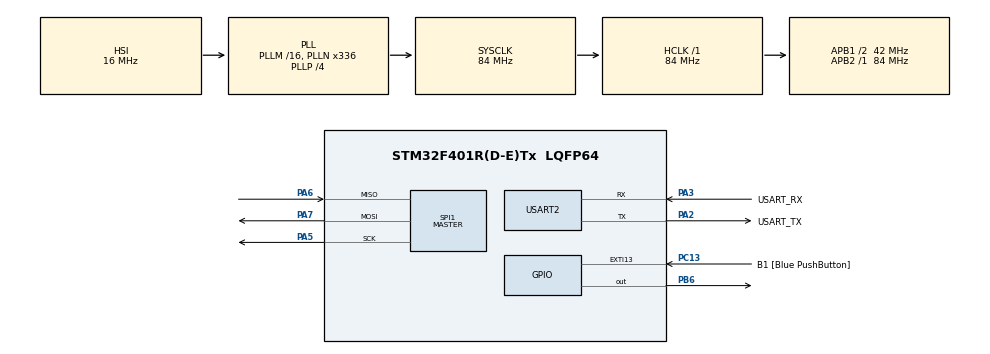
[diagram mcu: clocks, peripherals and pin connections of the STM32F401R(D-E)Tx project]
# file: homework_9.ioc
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Dma.Request0=SPI1_TX
Dma.SPI1_TX.0.Direction=DMA_MEMORY_TO_PERIPH
Dma.SPI1_TX.0.FIFOMode=DMA_FIFOMODE_DISABLE
Dma.SPI1_TX.0.Instance=DMA2_Stream3
Dma.SPI1_TX.0.MemDataAlignment=DMA_MDATAALIGN_BYTE
Dma.SPI1_TX.0.MemInc=DMA_MINC_ENABLE
Dma.SPI1_TX.0.Mode=DMA_NORMAL
Dma.SPI1_TX.0.PeriphDataAlignment=DMA_PDATAALIGN_BYTE
Dma.SPI1_TX.0.PeriphInc=DMA_PINC_DISABLE
Dma.SPI1_TX.0.Priority=DMA_PRIORITY_LOW
Mcu.Family=STM32F4
Mcu.Name=STM32F401R(D-E)Tx
Mcu.Package=LQFP64
NVIC.DMA2_Stream3_IRQn=true\:0\:0\:false\:false\:true\:false\:true\:true
NVIC.PriorityGroup=NVIC_PRIORITYGROUP_0
NVIC.SPI1_IRQn=true\:0\:0\:false\:false\:true\:true\:true\:true
NVIC.TIM2_IRQn=true\:0\:0\:false\:false\:true\:true\:true\:true
PA13.GPIO_Label=TMS
PA13.Mode=Serial_Wire
PA13.Signal=SYS_JTMS-SWDIO
PA14.GPIO_Label=TCK
PA14.Mode=Serial_Wire
PA14.Signal=SYS_JTCK-SWCLK
PA2.GPIO_Label=USART_TX
PA2.GPIO_Mode=GPIO_MODE_AF_PP
PA2.GPIO_PuPd=GPIO_NOPULL
PA2.GPIO_Speed=GPIO_SPEED_FREQ_LOW
PA2.Mode=Asynchronous
PA2.Signal=USART2_TX
PA3.GPIO_Label=USART_RX
PA3.GPIO_Mode=GPIO_MODE_AF_PP
PA3.GPIO_PuPd=GPIO_NOPULL
PA3.GPIO_Speed=GPIO_SPEED_FREQ_LOW
PA3.Mode=Asynchronous
PA3.Signal=USART2_RX
PA5.Mode=Full_Duplex_Master
PA5.Signal=SPI1_SCK
PA6.Mode=Full_Duplex_Master
PA6.Signal=SPI1_MISO
PA7.Mode=Full_Duplex_Master
PA7.Signal=SPI1_MOSI
PB3.GPIO_Label=SWO
PB3.Signal=SYS_JTDO-SWO
PB6.Signal=GPIO_Output
PC13-ANTI_TAMP.GPIO_Label=B1 [Blue PushButton]
PC13-ANTI_TAMP.GPIO_ModeDefaultEXTI=GPIO_MODE_IT_FALLING
PC13-ANTI_TAMP.GPIO_PuPd=GPIO_NOPULL
PC13-ANTI_TAMP.Signal=GPXTI13
PC14-OSC32_IN.Mode=LSE-External-Oscillator
PC14-OSC32_IN.Signal=RCC_OSC32_IN
PC15-OSC32_OUT.Mode=LSE-External-Oscillator
PC15-OSC32_OUT.Signal=RCC_OSC32_OUT
PH0\ -\ OSC_IN.Mode=HSE-External-Clock-Source
PH0\ -\ OSC_IN.Signal=RCC_OSC_IN
PH1\ -\ OSC_OUT.Mode=HSE-External-Clock-Source
PH1\ -\ OSC_OUT.Signal=RCC_OSC_OUT
ProjectManager.HeapSize=0x200
ProjectManager.StackSize=0x400
ProjectManager.TargetToolchain=STM32CubeIDE
RCC.48MHZClocksFreq_Value=48000000
RCC.AHBFreq_Value=84000000
RCC.APB1CLKDivider=RCC_HCLK_DIV2
RCC.APB1Freq_Value=42000000
RCC.APB1TimFreq_Value=84000000
RCC.APB2Freq_Value=84000000
RCC.APB2TimFreq_Value=84000000
RCC.CortexFreq_Value=84000000
RCC.HCLKFreq_Value=84000000
RCC.HSE_VALUE=8000000
RCC.HSI_VALUE=16000000
RCC.PLLN=336
RCC.PLLP=RCC_PLLP_DIV4
RCC.PLLQ=7
RCC.SYSCLKFreq_VALUE=84000000
RCC.SYSCLKSource=RCC_SYSCLKSOURCE_PLLCLK
RCC.VCOOutputFreq_Value=336000000
SPI1.BaudRatePrescaler=SPI_BAUDRATEPRESCALER_4
SPI1.Direction=SPI_DIRECTION_2LINES
SPI1.Mode=SPI_MODE_MASTER
SPI1.VirtualType=VM_MASTER
TIM2.Period=40
TIM2.Prescaler=8400
USART2.VirtualMode=VM_ASYNC
VP_TIM2_VS_ClockSourceINT.Mode=Internal
board=NUCLEO-F401RE

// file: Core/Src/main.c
 /* USER CODE BEGIN Header */
/**
  ******************************************************************************
  * @file           : main.c
  * @brief          : Main program body
  ******************************************************************************
  * @attention
  *
  * Copyright (c) 2024 STMicroelectronics.
  * All rights reserved.
  *
  * This software is licensed under terms that can be found in the LICENSE file
  * in the root directory of this software component.
  * If no LICENSE file comes with this software, it is provided AS-IS.
  *
  ******************************************************************************
  */
/* USER CODE END Header */
#include "main.h"

/* USER CODE BEGIN PD */
#define PB6_PIN GPIOB,GPIO_PIN_6
/* USER CODE END PD */

SPI_HandleTypeDef hspi1;
DMA_HandleTypeDef hdma_spi1_tx;

TIM_HandleTypeDef htim2;

UART_HandleTypeDef huart2;

void SystemClock_Config(void);
static void MX_GPIO_Init(void);
static void MX_DMA_Init(void);
static void MX_USART2_UART_Init(void);
static void MX_SPI1_Init(void);
static void MX_TIM2_Init(void);

/* USER CODE BEGIN 0 */

// Array of letters (A, M)
//The first dimension (2) represents the number of letters
//The second dimension (5) represents the 5 columns of the letter.
//The third dimension (2) stores two bytes.
uint8_t letters_array[2][5][2] =
{
	{
		{31, 16},
		{36, 8},
		{68, 4},
		{36, 2},
		{31, 1}
	},
	{
		{127, 16},
		{32, 8},
		{16, 4},
		{32, 2},
		{127, 1}
	},
};

uint8_t  column_index=0;
int  letter_counter=0; // Counter to switch between first letter and second letter, every 400 iterations resets
const int switch_counter = 200; // Every 200 iterations switch letters
uint8_t letter_index = 0;

		void HAL_TIM_PeriodElapsedCallback(TIM_HandleTypeDef *htim){
			if(htim == &htim2){
				// Every 200 iterations value changes from 0 to 1 and vice versa
				letter_index = (letter_counter / switch_counter) % 2;

		        HAL_SPI_Transmit_DMA(&hspi1, letters_array[letter_index][column_index], 2);
				// Every 5 iterations reset the counter
				column_index = (column_index+1) % 5;
				// Every 400 iterations reset the counter otherwise it will grow infinitely
				letter_counter = (letter_counter + 1) % (switch_counter * 2);
			}
		}
		void HAL_SPI_TxCpltCallback(SPI_HandleTypeDef * hspi){
			HAL_GPIO_WritePin(PB6_PIN, GPIO_PIN_SET);
			HAL_GPIO_WritePin(PB6_PIN, GPIO_PIN_RESET);
		}
/* USER CODE END 0 */

int main(void)
{

  /* MCU Configuration--------------------------------------------------------*/

  /* Reset of all peripherals, Initializes the Flash interface and the Systick. */
  HAL_Init();

  /* Configure the system clock */
  SystemClock_Config();

  /* Initialize all configured peripherals */
  MX_GPIO_Init();
  MX_DMA_Init();
  MX_USART2_UART_Init();
  MX_SPI1_Init();
  MX_TIM2_Init();
  /* USER CODE BEGIN 2 */
HAL_TIM_Base_Start_IT(&htim2);
  /* USER CODE END 2 */

  /* Infinite loop */
  while (1)
  {

  }
}

void SystemClock_Config(void)
{
  RCC_OscInitTypeDef RCC_OscInitStruct = {0};
  RCC_ClkInitTypeDef RCC_ClkInitStruct = {0};

  /** Configure the main internal regulator output voltage
  */
  __HAL_RCC_PWR_CLK_ENABLE();
  __HAL_PWR_VOLTAGESCALING_CONFIG(PWR_REGULATOR_VOLTAGE_SCALE2);

  /** Initializes the RCC Oscillators according to the specified parameters
  * in the RCC_OscInitTypeDef structure.
  */
  RCC_OscInitStruct.OscillatorType = RCC_OSCILLATORTYPE_HSI;
  RCC_OscInitStruct.HSIState = RCC_HSI_ON;
  RCC_OscInitStruct.HSICalibrationValue = RCC_HSICALIBRATION_DEFAULT;
  RCC_OscInitStruct.PLL.PLLState = RCC_PLL_ON;
  RCC_OscInitStruct.PLL.PLLSource = RCC_PLLSOURCE_HSI;
  RCC_OscInitStruct.PLL.PLLM = 16;
  RCC_OscInitStruct.PLL.PLLN = 336;
  RCC_OscInitStruct.PLL.PLLP = RCC_PLLP_DIV4;
  RCC_OscInitStruct.PLL.PLLQ = 7;
  if (HAL_RCC_OscConfig(&RCC_OscInitStruct) != HAL_OK)
  {
    Error_Handler();
  }

  /** Initializes the CPU, AHB and APB buses clocks
  */
  RCC_ClkInitStruct.ClockType = RCC_CLOCKTYPE_HCLK|RCC_CLOCKTYPE_SYSCLK
                              |RCC_CLOCKTYPE_PCLK1|RCC_CLOCKTYPE_PCLK2;
  RCC_ClkInitStruct.SYSCLKSource = RCC_SYSCLKSOURCE_PLLCLK;
  RCC_ClkInitStruct.AHBCLKDivider = RCC_SYSCLK_DIV1;
  RCC_ClkInitStruct.APB1CLKDivider = RCC_HCLK_DIV2;
  RCC_ClkInitStruct.APB2CLKDivider = RCC_HCLK_DIV1;

  if (HAL_RCC_ClockConfig(&RCC_ClkInitStruct, FLASH_LATENCY_2) != HAL_OK)
  {
    Error_Handler();
  }
}

static void MX_SPI1_Init(void)
{

  /* SPI1 parameter configuration*/
  hspi1.Instance = SPI1;
  hspi1.Init.Mode = SPI_MODE_MASTER;
  hspi1.Init.Direction = SPI_DIRECTION_2LINES;
  hspi1.Init.DataSize = SPI_DATASIZE_8BIT;
  hspi1.Init.CLKPolarity = SPI_POLARITY_LOW;
  hspi1.Init.CLKPhase = SPI_PHASE_1EDGE;
  hspi1.Init.NSS = SPI_NSS_SOFT;
  hspi1.Init.BaudRatePrescaler = SPI_BAUDRATEPRESCALER_4;
  hspi1.Init.FirstBit = SPI_FIRSTBIT_MSB;
  hspi1.Init.TIMode = SPI_TIMODE_DISABLE;
  hspi1.Init.CRCCalculation = SPI_CRCCALCULATION_DISABLE;
  hspi1.Init.CRCPolynomial = 10;
  if (HAL_SPI_Init(&hspi1) != HAL_OK)
  {
    Error_Handler();
  }

}

static void MX_TIM2_Init(void)
{

  TIM_ClockConfigTypeDef sClockSourceConfig = {0};
  TIM_MasterConfigTypeDef sMasterConfig = {0};

  htim2.Instance = TIM2;
  htim2.Init.Prescaler = 8400;
  htim2.Init.CounterMode = TIM_COUNTERMODE_UP;
  htim2.Init.Period = 40;
  htim2.Init.ClockDivision = TIM_CLOCKDIVISION_DIV1;
  htim2.Init.AutoReloadPreload = TIM_AUTORELOAD_PRELOAD_DISABLE;
  if (HAL_TIM_Base_Init(&htim2) != HAL_OK)
  {
    Error_Handler();
  }
  sClockSourceConfig.ClockSource = TIM_CLOCKSOURCE_INTERNAL;
  if (HAL_TIM_ConfigClockSource(&htim2, &sClockSourceConfig) != HAL_OK)
  {
    Error_Handler();
  }
  sMasterConfig.MasterOutputTrigger = TIM_TRGO_RESET;
  sMasterConfig.MasterSlaveMode = TIM_MASTERSLAVEMODE_DISABLE;
  if (HAL_TIMEx_MasterConfigSynchronization(&htim2, &sMasterConfig) != HAL_OK)
  {
    Error_Handler();
  }

}

static void MX_USART2_UART_Init(void)
{

  huart2.Instance = USART2;
  huart2.Init.BaudRate = 115200;
  huart2.Init.WordLength = UART_WORDLENGTH_8B;
  huart2.Init.StopBits = UART_STOPBITS_1;
  huart2.Init.Parity = UART_PARITY_NONE;
  huart2.Init.Mode = UART_MODE_TX_RX;
  huart2.Init.HwFlowCtl = UART_HWCONTROL_NONE;
  huart2.Init.OverSampling = UART_OVERSAMPLING_16;
  if (HAL_UART_Init(&huart2) != HAL_OK)
  {
    Error_Handler();
  }

}

static void MX_DMA_Init(void)
{

  /* DMA controller clock enable */
  __HAL_RCC_DMA2_CLK_ENABLE();

  /* DMA interrupt init */
  /* DMA2_Stream3_IRQn interrupt configuration */
  HAL_NVIC_SetPriority(DMA2_Stream3_IRQn, 0, 0);
  HAL_NVIC_EnableIRQ(DMA2_Stream3_IRQn);

}

static void MX_GPIO_Init(void)
{
  GPIO_InitTypeDef GPIO_InitStruct = {0};

  /* GPIO Ports Clock Enable */
  __HAL_RCC_GPIOC_CLK_ENABLE();
  __HAL_RCC_GPIOH_CLK_ENABLE();
  __HAL_RCC_GPIOA_CLK_ENABLE();
  __HAL_RCC_GPIOB_CLK_ENABLE();

  /*Configure GPIO pin Output Level */
  HAL_GPIO_WritePin(GPIOB, GPIO_PIN_6, GPIO_PIN_RESET);

  /*Configure GPIO pin : B1_Pin */
  GPIO_InitStruct.Pin = B1_Pin;
  GPIO_InitStruct.Mode = GPIO_MODE_IT_FALLING;
  GPIO_InitStruct.Pull = GPIO_NOPULL;
  HAL_GPIO_Init(B1_GPIO_Port, &GPIO_InitStruct);

  /*Configure GPIO pin : PB6 */
  GPIO_InitStruct.Pin = GPIO_PIN_6;
  GPIO_InitStruct.Mode = GPIO_MODE_OUTPUT_PP;
  GPIO_InitStruct.Pull = GPIO_NOPULL;
  GPIO_InitStruct.Speed = GPIO_SPEED_FREQ_LOW;
  HAL_GPIO_Init(GPIOB, &GPIO_InitStruct);

}

void Error_Handler(void)
{
  __disable_irq();
  while (1)
  {
  }
}
